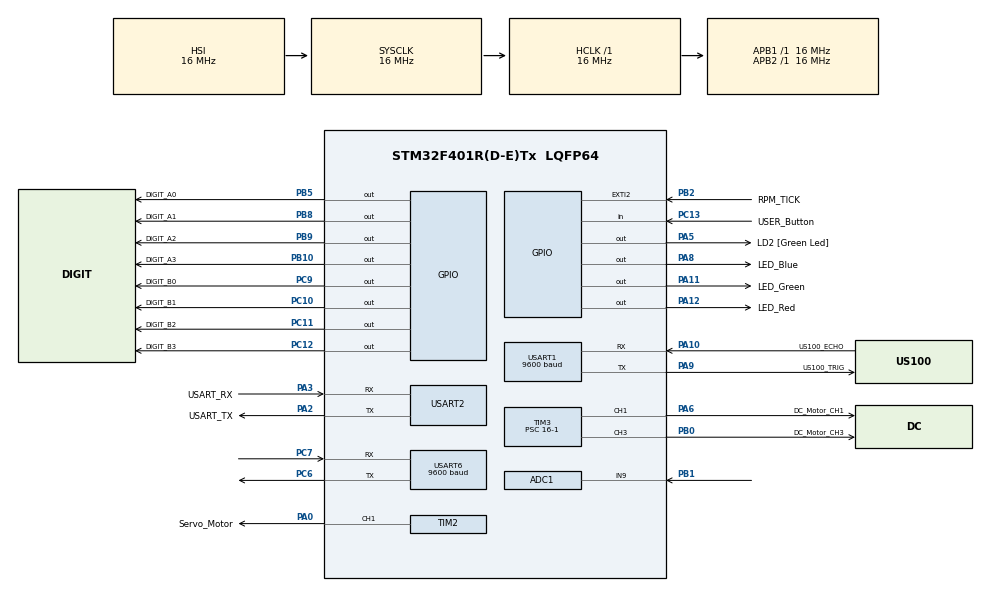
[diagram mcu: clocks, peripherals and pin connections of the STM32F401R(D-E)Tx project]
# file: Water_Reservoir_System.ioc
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ADC1.Channel-0\#ChannelRegularConversion=ADC_CHANNEL_9
ADC1.NbrOfConversionFlag=1
ADC1.Rank-0\#ChannelRegularConversion=1
ADC1.Resolution=ADC_RESOLUTION_8B
ADC1.SamplingTime-0\#ChannelRegularConversion=ADC_SAMPLETIME_15CYCLES
ADC1.ScanConvMode=ENABLE
ADC1.master=1
Mcu.Family=STM32F4
Mcu.Name=STM32F401R(D-E)Tx
Mcu.Package=LQFP64
NVIC.EXTI2_IRQn=true\:0\:0\:false\:false\:true\:true\:true\:true
NVIC.PriorityGroup=NVIC_PRIORITYGROUP_0
NVIC.TIM5_IRQn=true\:0\:0\:false\:false\:true\:true\:true\:true
NVIC.USART1_IRQn=true\:0\:0\:false\:false\:true\:true\:true\:true
NVIC.USART6_IRQn=true\:0\:0\:false\:false\:true\:true\:true\:true
PA0-WKUP.GPIO_Label=Servo_Motor
PA0-WKUP.Signal=S_TIM2_CH1_ETR
PA10.GPIO_Label=US100_ECHO
PA10.Mode=Asynchronous
PA10.Signal=USART1_RX
PA11.GPIO_Label=LED_Green
PA11.Signal=GPIO_Output
PA12.GPIO_Label=LED_Red
PA12.Signal=GPIO_Output
PA13.GPIO_Label=TMS
PA13.Mode=Serial_Wire
PA13.Signal=SYS_JTMS-SWDIO
PA14.GPIO_Label=TCK
PA14.Mode=Serial_Wire
PA14.Signal=SYS_JTCK-SWCLK
PA2.GPIO_Label=USART_TX
PA2.GPIO_Mode=GPIO_MODE_AF_PP
PA2.GPIO_PuPd=GPIO_NOPULL
PA2.GPIO_Speed=GPIO_SPEED_FREQ_LOW
PA2.Mode=Asynchronous
PA2.Signal=USART2_TX
PA3.GPIO_Label=USART_RX
PA3.GPIO_Mode=GPIO_MODE_AF_PP
PA3.GPIO_PuPd=GPIO_NOPULL
PA3.GPIO_Speed=GPIO_SPEED_FREQ_LOW
PA3.Mode=Asynchronous
PA3.Signal=USART2_RX
PA5.GPIO_Label=LD2 [Green Led]
PA5.GPIO_Mode=GPIO_MODE_OUTPUT_PP
PA5.GPIO_PuPd=GPIO_NOPULL
PA5.GPIO_Speed=GPIO_SPEED_FREQ_LOW
PA5.Signal=GPIO_Output
PA6.GPIO_Label=DC_Motor_CH1
PA6.Signal=S_TIM3_CH1
PA8.GPIO_Label=LED_Blue
PA8.Signal=GPIO_Output
PA9.GPIO_Label=US100_TRIG
PA9.Mode=Asynchronous
PA9.Signal=USART1_TX
PB0.GPIO_Label=DC_Motor_CH3
PB0.Signal=S_TIM3_CH3
PB1.Signal=ADCx_IN9
PB10.GPIO_Label=DIGIT_A3
PB10.Signal=GPIO_Output
PB2.GPIO_Label=RPM_TICK
PB2.GPIO_ModeDefaultEXTI=GPIO_MODE_IT_RISING
PB2.Signal=GPXTI2
PB3.GPIO_Label=SWO
PB3.Signal=SYS_JTDO-SWO
PB5.GPIO_Label=DIGIT_A0
PB5.Signal=GPIO_Output
PB8.GPIO_Label=DIGIT_A1
PB8.Signal=GPIO_Output
PB9.GPIO_Label=DIGIT_A2
PB9.Signal=GPIO_Output
PC10.GPIO_Label=DIGIT_B1
PC10.Signal=GPIO_Output
PC11.GPIO_Label=DIGIT_B2
PC11.Signal=GPIO_Output
PC12.GPIO_Label=DIGIT_B3
PC12.Signal=GPIO_Output
PC13-ANTI_TAMP.GPIO_Label=USER_Button
PC13-ANTI_TAMP.Signal=GPIO_Input
PC14-OSC32_IN.Mode=LSE-External-Oscillator
PC14-OSC32_IN.Signal=RCC_OSC32_IN
PC15-OSC32_OUT.Mode=LSE-External-Oscillator
PC15-OSC32_OUT.Signal=RCC_OSC32_OUT
PC6.Mode=Asynchronous
PC6.Signal=USART6_TX
PC7.Mode=Asynchronous
PC7.Signal=USART6_RX
PC9.GPIO_Label=DIGIT_B0
PC9.Signal=GPIO_Output
PH0\ -\ OSC_IN.Mode=HSE-External-Clock-Source
PH0\ -\ OSC_IN.Signal=RCC_OSC_IN
PH1\ -\ OSC_OUT.Mode=HSE-External-Clock-Source
PH1\ -\ OSC_OUT.Signal=RCC_OSC_OUT
ProjectManager.HeapSize=0x200
ProjectManager.StackSize=0x400
ProjectManager.TargetToolchain=STM32CubeIDE
RCC.48MHZClocksFreq_Value=48000000
RCC.AHBFreq_Value=16000000
RCC.APB1Freq_Value=16000000
RCC.APB1TimFreq_Value=16000000
RCC.APB2Freq_Value=16000000
RCC.APB2TimFreq_Value=16000000
RCC.CortexFreq_Value=16000000
RCC.HCLKFreq_Value=16000000
RCC.HSE_VALUE=8000000
RCC.HSI_VALUE=16000000
RCC.PLLN=336
RCC.PLLP=RCC_PLLP_DIV4
RCC.PLLQ=7
RCC.SYSCLKFreq_VALUE=16000000
RCC.VCOOutputFreq_Value=336000000
SH.ADCx_IN9.0=ADC1_IN9,IN9
SH.S_TIM2_CH1_ETR.0=TIM2_CH1,PWM Generation1 CH1
SH.S_TIM3_CH1.0=TIM3_CH1,PWM Generation1 CH1
SH.S_TIM3_CH3.0=TIM3_CH3,PWM Generation3 CH3
TIM2.AutoReloadPreload=TIM_AUTORELOAD_PRELOAD_ENABLE
TIM2.Channel-PWM\ Generation1\ CH1=TIM_CHANNEL_1
TIM2.Period=20000-1
TIM2.Prescaler=16-1
TIM2.Pulse-PWM\ Generation1\ CH1=500-1
TIM3.AutoReloadPreload=TIM_AUTORELOAD_PRELOAD_ENABLE
TIM3.Channel-PWM\ Generation1\ CH1=TIM_CHANNEL_1
TIM3.Channel-PWM\ Generation3\ CH3=TIM_CHANNEL_3
TIM3.Period=2000-1
TIM3.Prescaler=16-1
TIM3.Pulse-PWM\ Generation1\ CH1=1200-1
TIM3.Pulse-PWM\ Generation3\ CH3=0
TIM5.AutoReloadPreload=TIM_AUTORELOAD_PRELOAD_ENABLE
TIM5.Period=1000-1
TIM5.Prescaler=16000-1
USART1.BaudRate=9600
USART1.VirtualMode=VM_ASYNC
USART2.VirtualMode=VM_ASYNC
USART6.BaudRate=9600
USART6.VirtualMode=VM_ASYNC
VP_TIM2_VS_ClockSourceINT.Mode=Internal
VP_TIM3_VS_ClockSourceINT.Mode=Internal
VP_TIM5_VS_ClockSourceINT.Mode=Internal
board=NUCLEO-F401RE

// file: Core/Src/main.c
/* USER CODE BEGIN Header */
#include <string.h>
#include <stdio.h>
#include <stdlib.h>
/* USER CODE END Header */
#include "main.h"

/* USER CODE BEGIN PTD */
uint8_t pipe[4];
uint8_t pwm[4];
uint8_t pipe_num;
uint8_t start_time[4];
uint8_t stop_time[4];
uint8_t pwm_num;
uint16_t clock_hours = 0;
uint16_t clock_secs = 0;
uint8_t last_hour = 0;
uint16_t min_distance = 100; /* minimum distance = 100mm */
uint16_t max_distance = 250; /* maximum distance = 250mm */
uint8_t cmd_dist = 0x55;
uint8_t us100_Rx_flag = 00;
uint8_t us100_buffer[2] = {0};
volatile uint16_t distance = 0;
volatile uint16_t depth = 0;
volatile uint8_t rcv_intpt_flag = 0;
uint16_t rpm_tick_count = 0;
uint8_t buffer[64] = {0};
uint8_t double_byte[2];
int empty_zone = 0;
int single_digit = 1;

/* USER CODE END PTD */

ADC_HandleTypeDef hadc1;

TIM_HandleTypeDef htim2;
TIM_HandleTypeDef htim3;
TIM_HandleTypeDef htim5;

UART_HandleTypeDef huart1;
UART_HandleTypeDef huart2;
UART_HandleTypeDef huart6;

void SystemClock_Config(void);
static void MX_GPIO_Init(void);
static void MX_USART2_UART_Init(void);
static void MX_ADC1_Init(void);
static void MX_TIM2_Init(void);
static void MX_TIM3_Init(void);
static void MX_TIM5_Init(void);
static void MX_USART1_UART_Init(void);
static void MX_USART6_UART_Init(void);

/* USER CODE BEGIN 0 */
void DIGITS_Display()
{
	 uint8_t DIGIT_A = depth/10;
	 uint8_t DIGIT_B = depth%10;

//	 sprintf((char *)buffer, "\r\n%d%d", DIGIT_A, DIGIT_B);
//	 HAL_UART_Transmit(&huart6, buffer, strlen((char *)buffer), HAL_MAX_DELAY);
//	 memset(buffer, 0, sizeof(buffer));

	 uint8_t DIGITA_VAL = 0x0F & DIGIT_A; //mask off higher4 bits
	 int Abit0 = (DIGITA_VAL ) & 1;  	// extract Abit0 of the 4-bit value
	 int Abit1 = (DIGITA_VAL >> 1) & 1;  // extract Abit1 of the 4-bit value
	 int Abit2 = (DIGITA_VAL >> 2) & 1;  // extract Abit2 of the 4-bit value
	 int Abit3 = (DIGITA_VAL >> 3) & 1;  // extract Abit3 of the 4-bit value

	 uint8_t DIGITB_VAL = 0x0F & DIGIT_B; //mask off higher4 bits
	 int Bbit0 = (DIGITB_VAL ) & 1;  	// extract Bbit0 of the 4-bit value
	 int Bbit1 = (DIGITB_VAL >> 1) & 1;  // extract Bbit1 of the 4-bit value
	 int Bbit2 = (DIGITB_VAL >> 2) & 1;  // extract Bbit2 of the 4-bit value
	 int Bbit3 = (DIGITB_VAL >> 3) & 1;  // extract Bbit3 of the 4-bit value

	 if (Abit0 == (0))
	 {
		 HAL_GPIO_WritePin(GPIOB, DIGIT_A0_Pin, GPIO_PIN_RESET);
	 }
	 else
	 {
		 HAL_GPIO_WritePin(GPIOB, DIGIT_A0_Pin, GPIO_PIN_SET);

	 }
	 if (Abit1 == (0))
	 {
		 HAL_GPIO_WritePin(GPIOB, DIGIT_A1_Pin, GPIO_PIN_RESET);
	 }
	 else
	 {
		 HAL_GPIO_WritePin(GPIOB, DIGIT_A1_Pin, GPIO_PIN_SET);

	 }
	 if (Abit2 == (0))
	 {
		 HAL_GPIO_WritePin(GPIOB, DIGIT_A2_Pin, GPIO_PIN_RESET);
	 }
	 else
	 {
		 HAL_GPIO_WritePin(GPIOB, DIGIT_A2_Pin, GPIO_PIN_SET);

	 }
	 if (Abit3 == (0))
	 {
		 HAL_GPIO_WritePin(GPIOB, DIGIT_A3_Pin, GPIO_PIN_RESET);
	 }
	 else
	 {
		 HAL_GPIO_WritePin(GPIOB, DIGIT_A3_Pin, GPIO_PIN_SET);

	 }

	 if (Bbit0 == (0))
	 {
		 HAL_GPIO_WritePin(GPIOC, DIGIT_B0_Pin, GPIO_PIN_RESET);
	 }
	 else
	 {
		 HAL_GPIO_WritePin(GPIOC, DIGIT_B0_Pin, GPIO_PIN_SET);

	 }
	 if (Bbit1 == (0))
	 {
		 HAL_GPIO_WritePin(GPIOC, DIGIT_B1_Pin, GPIO_PIN_RESET);
	 }
	 else
	 {
		 HAL_GPIO_WritePin(GPIOC, DIGIT_B1_Pin, GPIO_PIN_SET);

	 }
	 if (Bbit2 == (0))
	 {
		 HAL_GPIO_WritePin(GPIOC, DIGIT_B2_Pin, GPIO_PIN_RESET);
	 }
	 else
	 {
		 HAL_GPIO_WritePin(GPIOC, DIGIT_B2_Pin, GPIO_PIN_SET);

	 }
	 if (Bbit3 == (0))
	 {
		 HAL_GPIO_WritePin(GPIOC, DIGIT_B3_Pin, GPIO_PIN_RESET);
	 }
	 else
	 {
		 HAL_GPIO_WritePin(GPIOC, DIGIT_B3_Pin, GPIO_PIN_SET);

	 }
}

void ADC_Select_CH(int CH) {
	ADC_ChannelConfTypeDef sConfig = {0};
	switch(CH)
	{
	case 0:
	sConfig.Channel = ADC_CHANNEL_0;
	sConfig.Rank = 1;
	if (HAL_ADC_ConfigChannel(&hadc1, &sConfig) != HAL_OK)
	{
	Error_Handler();
	}
	break;
	case 1:
	sConfig.Channel = ADC_CHANNEL_1;
	sConfig.Rank = 1;
	if (HAL_ADC_ConfigChannel(&hadc1, &sConfig) != HAL_OK)
	{
	Error_Handler();
	}
	break;
	case 2:
	sConfig.Channel = ADC_CHANNEL_2;
	sConfig.Rank = 1;
	if (HAL_ADC_ConfigChannel(&hadc1, &sConfig) != HAL_OK)
	{
	Error_Handler();
	}
	break;
	case 3:
	sConfig.Channel = ADC_CHANNEL_3;
	sConfig.Rank = 1;
	if (HAL_ADC_ConfigChannel(&hadc1, &sConfig) != HAL_OK)
	{
	Error_Handler();
	}
	break;
	case 4:
	sConfig.Channel = ADC_CHANNEL_4;
	sConfig.Rank = 1;
	if (HAL_ADC_ConfigChannel(&hadc1, &sConfig) != HAL_OK)
	{
	Error_Handler();
	}
	break;
	case 5:
	sConfig.Channel = ADC_CHANNEL_5;
	sConfig.Rank = 1;
	if (HAL_ADC_ConfigChannel(&hadc1, &sConfig) != HAL_OK)
	{
	Error_Handler();
	}
	break;
	case 6:
	sConfig.Channel = ADC_CHANNEL_6;
	sConfig.Rank = 1;
	if (HAL_ADC_ConfigChannel(&hadc1, &sConfig) != HAL_OK)
	{
	Error_Handler();
	}
	break;
	case 7:
	sConfig.Channel = ADC_CHANNEL_7;
	sConfig.Rank = 1;
	if (HAL_ADC_ConfigChannel(&hadc1, &sConfig) != HAL_OK)
	{
	Error_Handler();
	}
	break;
	case 8:
	sConfig.Channel = ADC_CHANNEL_8;
	sConfig.Rank = 1;
	if (HAL_ADC_ConfigChannel(&hadc1, &sConfig) != HAL_OK)
	{
	Error_Handler();
	}
	break;
	case 9:
	sConfig.Channel = ADC_CHANNEL_9;
	sConfig.Rank = 1;
	if (HAL_ADC_ConfigChannel(&hadc1, &sConfig) != HAL_OK)
	{
	Error_Handler();
	}
	break;
	case 10:
	sConfig.Channel = ADC_CHANNEL_10;
	sConfig.Rank = 1;
	if (HAL_ADC_ConfigChannel(&hadc1, &sConfig) != HAL_OK)
	{
	Error_Handler();
	}
	break;
	case 11:
	sConfig.Channel = ADC_CHANNEL_11;
	sConfig.Rank = 1;
	if (HAL_ADC_ConfigChannel(&hadc1, &sConfig) != HAL_OK)
	{
	Error_Handler();
	}
	break;
	case 12:
	sConfig.Channel = ADC_CHANNEL_12;
	sConfig.Rank = 1;
	if (HAL_ADC_ConfigChannel(&hadc1, &sConfig) != HAL_OK)
	{
	Error_Handler();
	}
	break;
	case 13:
	sConfig.Channel = ADC_CHANNEL_13;
	sConfig.Rank = 1;
	if (HAL_ADC_ConfigChannel(&hadc1, &sConfig) != HAL_OK)
	{
	Error_Handler();
	}
	break;
	case 14:
	sConfig.Channel = ADC_CHANNEL_14;
	sConfig.Rank = 1;
	if (HAL_ADC_ConfigChannel(&hadc1, &sConfig) != HAL_OK)
	{
	Error_Handler();
	}
	break;
	case 15:
	sConfig.Channel = ADC_CHANNEL_15;
	sConfig.Rank = 1;
	if (HAL_ADC_ConfigChannel(&hadc1, &sConfig) != HAL_OK)
	{
	Error_Handler();
	}
	break;
	}
}

void user_input () {
		sprintf((char*)buffer, "\r\nSETUP Mode");
		HAL_UART_Transmit(&huart6, buffer, strlen((char *)buffer), HAL_MAX_DELAY);
		memset(buffer, 0, sizeof(buffer));
		for (int i = 0; i < 4; i++) {
			single_digit = 1;
			rcv_intpt_flag = 00;
			HAL_UART_Receive_IT(&huart6, double_byte, 1);
			sprintf((char*)buffer, "\n\r\nEnter Pipeline Choice (0 = INLET, 1-3 = ZONES): ");
			HAL_UART_Transmit(&huart6, buffer, strlen((char *)buffer), HAL_MAX_DELAY);
			while(rcv_intpt_flag == (00)) {};
			pipe[i] = atoi((char *)&double_byte);
			memset(buffer, 0, sizeof(buffer));
			memset(double_byte, 0, sizeof(double_byte));

			rcv_intpt_flag = 00;
			HAL_UART_Receive_IT(&huart6, double_byte, 1);
			sprintf((char*)buffer, "\r\nEnter Pump PWM (0 = INLET, 1-3 = ZONES): ");
			HAL_UART_Transmit(&huart6, buffer, strlen((char *)buffer), HAL_MAX_DELAY);
			while(rcv_intpt_flag == (00)) {};
			pwm[i] = atoi((char *)&double_byte);
			memset(buffer, 0, sizeof(buffer));
			memset(double_byte, 0, sizeof(double_byte));
		}

		for (int i = 0; i < 4; i ++) {
			single_digit = 0;
			rcv_intpt_flag = 00;
			HAL_UART_Receive_IT(&huart6, double_byte, 2);
			sprintf((char*)buffer, "\n\r\nEnter Start Hour (00 - 23): ");
			HAL_UART_Transmit(&huart6, buffer, strlen((char *)buffer), HAL_MAX_DELAY);
			while(rcv_intpt_flag == (00)) {};
			start_time[i] = atoi((char *)&double_byte);
			memset(buffer, 0, sizeof(buffer));
			memset(double_byte, 0, sizeof(double_byte));

			rcv_intpt_flag = 00;
			HAL_UART_Receive_IT(&huart6, double_byte, 2);
			sprintf((char*)buffer, "\r\nEnter Stop Hour (00 - 23): ");
			HAL_UART_Transmit(&huart6, buffer, strlen((char *)buffer), HAL_MAX_DELAY);
			rcv_intpt_flag = 00;
			while(rcv_intpt_flag == (00)) {};
			stop_time[i] = atoi((char *)&double_byte);
			memset(buffer, 0, sizeof(buffer));
			memset(double_byte, 0, sizeof(double_byte));
		}

			rcv_intpt_flag = 00;

			while(rcv_intpt_flag) {};
			sprintf((char*)buffer, "\n\r\nPrinting SETUP Parameters");
			HAL_UART_Transmit(&huart6, buffer, strlen((char *)buffer), HAL_MAX_DELAY);
			memset(buffer, 0, sizeof(buffer));
			sprintf((char*)buffer, "\r\nCurrent Wall Clock Hour: 00");
			HAL_UART_Transmit(&huart6, buffer, strlen((char*)buffer), HAL_MAX_DELAY);
			memset(buffer, 0, sizeof(buffer));

			for (int i = 0; i < 4; i++) {
				sprintf((char *)buffer, "\r\nPipeline: %u, Pump PWM: %u, Start Hour: %u, Stop Hour: %u", pipe[i], pwm[i], start_time[i], stop_time[i]);
				HAL_UART_Transmit(&huart6, buffer, strlen((char *)buffer), HAL_MAX_DELAY);
				memset(buffer, 0, sizeof(buffer));
			}

			sprintf((char*)buffer, "\n\r\nSETUP is done. Press Blue Button for RUN Mode");
			HAL_UART_Transmit(&huart6, buffer, strlen((char *)buffer), HAL_MAX_DELAY);
			memset(buffer, 0, sizeof(buffer));
}

uint32_t get_potentio_num() {
	ADC_Select_CH(9);
	HAL_ADC_Start(&hadc1);
	HAL_ADC_PollForConversion(&hadc1, 1000);
	uint32_t ADC_CH9 = HAL_ADC_GetValue(&hadc1);
//	sprintf((char*)buffer, "\n\r\n ADC_CH9: %d", ADC_CH9);
//				HAL_UART_Transmit(&huart6, buffer, strlen((char *)buffer), HAL_MAX_DELAY);
//				memset(buffer, 0, sizeof(buffer));
	HAL_ADC_Stop(&hadc1);

	return ADC_CH9/2.55;
}

void servo_num(uint16_t pipe_num) {
	if (pipe_num == 0) {
		TIM2->CCR1 = 500;
	} else if (pipe_num == 1) {
		TIM2->CCR1 = 800;
	} else if (pipe_num == 2) {
		TIM2->CCR1 = 1100;
	} else if (pipe_num == 3) {
		TIM2->CCR1 = 1400;
	}
}

void DC_motor_speed(uint16_t pipe_num, uint16_t pwm_num) {
	if(pipe_num == 0) {
		TIM3->CCR3 = 0;
		if (pwm_num == 0) {
//			sprintf((char *)buffer, "\r\n val = %lu ", get_potentio_num()*20);
//				HAL_UART_Transmit(&huart6, buffer, strlen((char *)buffer), HAL_MAX_DELAY);
//				memset(buffer, 0, sizeof(buffer));
			TIM3->CCR1 = get_potentio_num()*20;
		} else if (pwm_num == 1) {
			TIM3->CCR1 = 0.7*2000;
		} else if (pwm_num == 2) {
			TIM3->CCR1 = 0.85*2000;
		} else if (pwm_num == 3) {
			TIM3->CCR1 = 0.99*2000;
		}
	} else {
		TIM3->CCR3 = 0;
		if (pwm_num == 0) {
			TIM3->CCR1 = get_potentio_num()*20;
		} else if (pwm_num == 1) {
			TIM3->CCR1 = 0.7*2000;
		} else if (pwm_num == 2) {
			TIM3->CCR1 = 0.85*2000;
		} else if (pwm_num == 3) {
			TIM3->CCR1 = 0.99*2000;
		}
	}
}

void DC_motor_reset() {
	TIM3->CCR1 = 0;
	TIM3->CCR3 = 0;
}

void water_level() {
	us100_Rx_flag = 00;
	HAL_UART_Receive_IT(&huart1, us100_buffer, 2);
	HAL_UART_Transmit(&huart1, &cmd_dist, 1, HAL_MAX_DELAY);

	while (us100_Rx_flag == (00)) {};

	distance = (us100_buffer[0] << 8) | us100_buffer[1];

	if (distance >= max_distance) {
		depth = 0;
	} else if (distance <= min_distance) {
		depth = 100;
	} else {
		depth = ((max_distance - distance)*100/(max_distance - min_distance)); // water level in percentage
	}

	memset(us100_buffer, 0, sizeof(us100_buffer));
}

uint16_t get_rpm() {
	uint16_t rpm = rpm_tick_count/4;
	rpm_tick_count = 0;

	return rpm;
}

void run_output() {
	uint16_t rpm = get_rpm();
	uint16_t current_hour = clock_hours - 1;

	if(empty_zone)
	{
		sprintf((char *)buffer, "\r\n%d :   :   : %d : %d", current_hour, rpm, depth);
		HAL_UART_Transmit(&huart6, buffer, strlen((char *)buffer), HAL_MAX_DELAY);
		memset(buffer, 0, sizeof(buffer));
	} else {
		sprintf((char *)buffer, "\r\n%d : %d : %d : %d : %d", current_hour, pipe_num, pwm_num, rpm, depth);
		HAL_UART_Transmit(&huart6, buffer, strlen((char *)buffer), HAL_MAX_DELAY);
		memset(buffer, 0, sizeof(buffer));
	}
}

void set_led(uint16_t pipe_num) {
	HAL_GPIO_WritePin(GPIOA, LED_Blue_Pin|LED_Red_Pin|LED_Green_Pin, GPIO_PIN_RESET);

	if (pipe_num == 0) {
		HAL_GPIO_WritePin(GPIOA, LED_Blue_Pin|LED_Red_Pin, GPIO_PIN_SET);
	} else if (pipe_num == 1) {
		HAL_GPIO_WritePin(GPIOA, LED_Red_Pin, GPIO_PIN_SET);
	} else if (pipe_num == 2) {
		HAL_GPIO_WritePin(GPIOA, LED_Green_Pin, GPIO_PIN_SET);
	} else if (pipe_num == 3) {
		HAL_GPIO_WritePin(GPIOA, LED_Blue_Pin, GPIO_PIN_SET);
	}

	if (pipe_num == 4) {
		for (int i = 0; i < 20; i++) {
			HAL_GPIO_WritePin(GPIOA, LED_Blue_Pin|LED_Red_Pin|LED_Green_Pin, GPIO_PIN_SET);
			HAL_Delay(100);
			HAL_GPIO_WritePin(GPIOA, LED_Blue_Pin|LED_Red_Pin|LED_Green_Pin, GPIO_PIN_RESET);
			HAL_Delay(100);
		}
	}
}

void reset_led() {
	HAL_GPIO_WritePin(GPIOA, LED_Blue_Pin|LED_Red_Pin|LED_Green_Pin, GPIO_PIN_RESET);
}

/* USER CODE END 0 */

int main(void)
{

  /* MCU Configuration--------------------------------------------------------*/

  /* Reset of all peripherals, Initializes the Flash interface and the Systick. */
  HAL_Init();

  /* Configure the system clock */
  SystemClock_Config();

  /* Initialize all configured peripherals */
  MX_GPIO_Init();
  MX_USART2_UART_Init();
  MX_ADC1_Init();
  MX_TIM2_Init();
  MX_TIM3_Init();
  MX_TIM5_Init();
  MX_USART1_UART_Init();
  MX_USART6_UART_Init();
  /* USER CODE BEGIN 2 */
  HAL_TIM_Base_Init(&htim2);
  HAL_TIM_PWM_Start(&htim2, TIM_CHANNEL_1);
  TIM2->PSC = 16;
  TIM2->ARR = 20000;
  TIM2->CCR1 = 500;

  HAL_TIM_Base_Init(&htim3);
  HAL_TIM_PWM_Start(&htim3, TIM_CHANNEL_1);
  HAL_TIM_PWM_Start(&htim3, TIM_CHANNEL_3);
  TIM3->PSC = 16;
  TIM3->ARR = 2000;
  TIM3->CCR1 = 0;
  TIM3->CCR3 = 0;

  HAL_GPIO_WritePin(LD2_GPIO_Port, LD2_Pin, GPIO_PIN_RESET);
  user_input();

  while(HAL_GPIO_ReadPin(GPIOC, USER_Button_Pin) == GPIO_PIN_SET) {
		HAL_GPIO_WritePin(LD2_GPIO_Port, LD2_Pin, GPIO_PIN_SET);
		HAL_Delay(100);
		HAL_GPIO_WritePin(LD2_GPIO_Port, LD2_Pin, GPIO_PIN_RESET);
		HAL_Delay(100);
  }

  HAL_GPIO_WritePin(LD2_GPIO_Port, LD2_Pin, GPIO_PIN_SET);

  // RUN Mode
  sprintf((char *)buffer, "\n\r\nRUN MODE");
  HAL_UART_Transmit(&huart6, buffer, strlen((char *)buffer), HAL_MAX_DELAY);
  memset(buffer, 0, sizeof(buffer));
  sprintf((char *)buffer, "\r\nHOUR : PIPE : PWM : RPM : DEPTH");
  HAL_UART_Transmit(&huart6, buffer, strlen((char*) buffer), HAL_MAX_DELAY);
  memset(buffer, 0, sizeof(buffer));
  sprintf((char *)buffer, "\r\n---------------------------------------------");
  HAL_UART_Transmit(&huart6, buffer, strlen((char *)buffer), HAL_MAX_DELAY);
  memset(buffer, 0, sizeof(buffer));

  clock_hours = 0;
  clock_secs = 0;
  last_hour = 0;
  HAL_TIM_Base_Start_IT(&htim5);

  /* USER CODE END 2 */

  /* Infinite loop */
  /* USER CODE BEGIN WHILE */
  while(1) {
	  empty_zone = 1;

	  if (clock_hours == start_time[0]) {
		  pipe_num = pipe[0];
		  pwm_num = pwm[0];
	  } else if (clock_hours == start_time[1]) {
		  pipe_num = pipe[1];
		  pwm_num = pwm[1];
	  } else if (clock_hours == start_time[2]) {
		  pipe_num = pipe[2];
		  pwm_num = pwm[2];
	  } else if (clock_hours == start_time[3]) {
		  pipe_num = pipe[3];
		  pwm_num = pwm[3];
	  }

	  for (int i = 0; i < 4; i++) {
		  if(start_time[i] <= clock_hours && stop_time[i] >= clock_hours) {
			  empty_zone = 0;
		  }
	  }

	  if (!empty_zone) {
		  servo_num(pipe_num);
		  set_led(pipe_num);
		  DC_motor_speed(pipe_num, pwm_num);
		  if (pwm_num == 0) {
			  while (clock_hours == last_hour) {
				  DC_motor_speed(pipe_num, pwm_num);
			  }
		  }
	  } else if (empty_zone) {
		  DC_motor_reset();
		  reset_led();
	  }

	  while (clock_hours == last_hour){};

	  last_hour = clock_hours;
	  water_level();

	  if (depth == 0) {
		  DC_motor_reset();
		  TIM2->CCR1 = 0;
		  HAL_GPIO_WritePin(LD2_GPIO_Port, LD2_Pin, GPIO_PIN_RESET);
		  sprintf((char *)buffer, "\n\r\nReservoir is empty");
		  HAL_UART_Transmit(&huart6, buffer, strlen((char *)buffer), HAL_MAX_DELAY);
		  memset(buffer, 0, sizeof(buffer));
		  set_led(4);

		  break;
	  }

	  DIGITS_Display();
	  run_output();

	  if (clock_hours == 24) {
		  DC_motor_reset();
		  reset_led();
		  HAL_GPIO_WritePin(LD2_GPIO_Port, LD2_Pin, GPIO_PIN_RESET);
		  TIM2->CCR1 = 0;
		  sprintf((char *)buffer, "\n\r\nIrrigation complete");
		  HAL_UART_Transmit(&huart6, buffer, strlen((char *)buffer), HAL_MAX_DELAY);
		  memset(buffer, 0, sizeof(buffer));

		  break;
	  }
  }
    /* USER CODE END WHILE */

    /* USER CODE BEGIN 3 */
	HAL_GPIO_WritePin(GPIOA, LED_Blue_Pin|LED_Red_Pin|LED_Green_Pin, GPIO_PIN_RESET);
	HAL_TIM_PWM_Stop(&htim3, TIM_CHANNEL_1);
	HAL_TIM_PWM_Stop(&htim3, TIM_CHANNEL_3);
	HAL_TIM_PWM_Stop(&htim2, TIM_CHANNEL_1);
	HAL_TIM_Base_Stop_IT(&htim5);

	return 0;
  /* USER CODE END 3 */
}

void SystemClock_Config(void)
{
  RCC_OscInitTypeDef RCC_OscInitStruct = {0};
  RCC_ClkInitTypeDef RCC_ClkInitStruct = {0};

  /** Configure the main internal regulator output voltage
  */
  __HAL_RCC_PWR_CLK_ENABLE();
  __HAL_PWR_VOLTAGESCALING_CONFIG(PWR_REGULATOR_VOLTAGE_SCALE2);

  /** Initializes the RCC Oscillators according to the specified parameters
  * in the RCC_OscInitTypeDef structure.
  */
  RCC_OscInitStruct.OscillatorType = RCC_OSCILLATORTYPE_HSI;
  RCC_OscInitStruct.HSIState = RCC_HSI_ON;
  RCC_OscInitStruct.HSICalibrationValue = RCC_HSICALIBRATION_DEFAULT;
  RCC_OscInitStruct.PLL.PLLState = RCC_PLL_NONE;
  if (HAL_RCC_OscConfig(&RCC_OscInitStruct) != HAL_OK)
  {
    Error_Handler();
  }

  /** Initializes the CPU, AHB and APB buses clocks
  */
  RCC_ClkInitStruct.ClockType = RCC_CLOCKTYPE_HCLK|RCC_CLOCKTYPE_SYSCLK
                              |RCC_CLOCKTYPE_PCLK1|RCC_CLOCKTYPE_PCLK2;
  RCC_ClkInitStruct.SYSCLKSource = RCC_SYSCLKSOURCE_HSI;
  RCC_ClkInitStruct.AHBCLKDivider = RCC_SYSCLK_DIV1;
  RCC_ClkInitStruct.APB1CLKDivider = RCC_HCLK_DIV1;
  RCC_ClkInitStruct.APB2CLKDivider = RCC_HCLK_DIV1;

  if (HAL_RCC_ClockConfig(&RCC_ClkInitStruct, FLASH_LATENCY_0) != HAL_OK)
  {
    Error_Handler();
  }
}

static void MX_ADC1_Init(void)
{

  ADC_ChannelConfTypeDef sConfig = {0};

  /** Configure the global features of the ADC (Clock, Resolution, Data Alignment and number of conversion)
  */
  hadc1.Instance = ADC1;
  hadc1.Init.ClockPrescaler = ADC_CLOCK_SYNC_PCLK_DIV2;
  hadc1.Init.Resolution = ADC_RESOLUTION_8B;
  hadc1.Init.ScanConvMode = ENABLE;
  hadc1.Init.ContinuousConvMode = DISABLE;
  hadc1.Init.DiscontinuousConvMode = DISABLE;
  hadc1.Init.ExternalTrigConvEdge = ADC_EXTERNALTRIGCONVEDGE_NONE;
  hadc1.Init.ExternalTrigConv = ADC_SOFTWARE_START;
  hadc1.Init.DataAlign = ADC_DATAALIGN_RIGHT;
  hadc1.Init.NbrOfConversion = 1;
  hadc1.Init.DMAContinuousRequests = DISABLE;
  hadc1.Init.EOCSelection = ADC_EOC_SINGLE_CONV;
  if (HAL_ADC_Init(&hadc1) != HAL_OK)
  {
    Error_Handler();
  }

  /** Configure for the selected ADC regular channel its corresponding rank in the sequencer and its sample time.
  */
  sConfig.Channel = ADC_CHANNEL_9;
  sConfig.Rank = 1;
  sConfig.SamplingTime = ADC_SAMPLETIME_15CYCLES;
  if (HAL_ADC_ConfigChannel(&hadc1, &sConfig) != HAL_OK)
  {
    Error_Handler();
  }

}

static void MX_TIM2_Init(void)
{

  TIM_ClockConfigTypeDef sClockSourceConfig = {0};
  TIM_MasterConfigTypeDef sMasterConfig = {0};
  TIM_OC_InitTypeDef sConfigOC = {0};

  htim2.Instance = TIM2;
  htim2.Init.Prescaler = 16-1;
  htim2.Init.CounterMode = TIM_COUNTERMODE_UP;
  htim2.Init.Period = 20000-1;
  htim2.Init.ClockDivision = TIM_CLOCKDIVISION_DIV1;
  htim2.Init.AutoReloadPreload = TIM_AUTORELOAD_PRELOAD_ENABLE;
  if (HAL_TIM_Base_Init(&htim2) != HAL_OK)
  {
    Error_Handler();
  }
  sClockSourceConfig.ClockSource = TIM_CLOCKSOURCE_INTERNAL;
  if (HAL_TIM_ConfigClockSource(&htim2, &sClockSourceConfig) != HAL_OK)
  {
    Error_Handler();
  }
  if (HAL_TIM_PWM_Init(&htim2) != HAL_OK)
  {
    Error_Handler();
  }
  sMasterConfig.MasterOutputTrigger = TIM_TRGO_RESET;
  sMasterConfig.MasterSlaveMode = TIM_MASTERSLAVEMODE_DISABLE;
  if (HAL_TIMEx_MasterConfigSynchronization(&htim2, &sMasterConfig) != HAL_OK)
  {
    Error_Handler();
  }
  sConfigOC.OCMode = TIM_OCMODE_PWM1;
  sConfigOC.Pulse = 500-1;
  sConfigOC.OCPolarity = TIM_OCPOLARITY_HIGH;
  sConfigOC.OCFastMode = TIM_OCFAST_DISABLE;
  if (HAL_TIM_PWM_ConfigChannel(&htim2, &sConfigOC, TIM_CHANNEL_1) != HAL_OK)
  {
    Error_Handler();
  }
  HAL_TIM_MspPostInit(&htim2);

}

static void MX_TIM3_Init(void)
{

  TIM_ClockConfigTypeDef sClockSourceConfig = {0};
  TIM_MasterConfigTypeDef sMasterConfig = {0};
  TIM_OC_InitTypeDef sConfigOC = {0};

  htim3.Instance = TIM3;
  htim3.Init.Prescaler = 16-1;
  htim3.Init.CounterMode = TIM_COUNTERMODE_UP;
  htim3.Init.Period = 2000-1;
  htim3.Init.ClockDivision = TIM_CLOCKDIVISION_DIV1;
  htim3.Init.AutoReloadPreload = TIM_AUTORELOAD_PRELOAD_ENABLE;
  if (HAL_TIM_Base_Init(&htim3) != HAL_OK)
  {
    Error_Handler();
  }
  sClockSourceConfig.ClockSource = TIM_CLOCKSOURCE_INTERNAL;
  if (HAL_TIM_ConfigClockSource(&htim3, &sClockSourceConfig) != HAL_OK)
  {
    Error_Handler();
  }
  if (HAL_TIM_PWM_Init(&htim3) != HAL_OK)
  {
    Error_Handler();
  }
  sMasterConfig.MasterOutputTrigger = TIM_TRGO_RESET;
  sMasterConfig.MasterSlaveMode = TIM_MASTERSLAVEMODE_DISABLE;
  if (HAL_TIMEx_MasterConfigSynchronization(&htim3, &sMasterConfig) != HAL_OK)
  {
    Error_Handler();
  }
  sConfigOC.OCMode = TIM_OCMODE_PWM1;
  sConfigOC.Pulse = 1200-1;
  sConfigOC.OCPolarity = TIM_OCPOLARITY_HIGH;
  sConfigOC.OCFastMode = TIM_OCFAST_DISABLE;
  if (HAL_TIM_PWM_ConfigChannel(&htim3, &sConfigOC, TIM_CHANNEL_1) != HAL_OK)
  {
    Error_Handler();
  }
  sConfigOC.Pulse = 0;
  if (HAL_TIM_PWM_ConfigChannel(&htim3, &sConfigOC, TIM_CHANNEL_3) != HAL_OK)
  {
    Error_Handler();
  }
  HAL_TIM_MspPostInit(&htim3);

}

static void MX_TIM5_Init(void)
{

  TIM_ClockConfigTypeDef sClockSourceConfig = {0};
  TIM_MasterConfigTypeDef sMasterConfig = {0};

  htim5.Instance = TIM5;
  htim5.Init.Prescaler = 16000-1;
  htim5.Init.CounterMode = TIM_COUNTERMODE_UP;
  htim5.Init.Period = 1000-1;
  htim5.Init.ClockDivision = TIM_CLOCKDIVISION_DIV1;
  htim5.Init.AutoReloadPreload = TIM_AUTORELOAD_PRELOAD_ENABLE;
  if (HAL_TIM_Base_Init(&htim5) != HAL_OK)
  {
    Error_Handler();
  }
  sClockSourceConfig.ClockSource = TIM_CLOCKSOURCE_INTERNAL;
  if (HAL_TIM_ConfigClockSource(&htim5, &sClockSourceConfig) != HAL_OK)
  {
    Error_Handler();
  }
  sMasterConfig.MasterOutputTrigger = TIM_TRGO_RESET;
  sMasterConfig.MasterSlaveMode = TIM_MASTERSLAVEMODE_DISABLE;
  if (HAL_TIMEx_MasterConfigSynchronization(&htim5, &sMasterConfig) != HAL_OK)
  {
    Error_Handler();
  }

}

static void MX_USART1_UART_Init(void)
{

  huart1.Instance = USART1;
  huart1.Init.BaudRate = 9600;
  huart1.Init.WordLength = UART_WORDLENGTH_8B;
  huart1.Init.StopBits = UART_STOPBITS_1;
  huart1.Init.Parity = UART_PARITY_NONE;
  huart1.Init.Mode = UART_MODE_TX_RX;
  huart1.Init.HwFlowCtl = UART_HWCONTROL_NONE;
  huart1.Init.OverSampling = UART_OVERSAMPLING_16;
  if (HAL_UART_Init(&huart1) != HAL_OK)
  {
    Error_Handler();
  }

}

static void MX_USART2_UART_Init(void)
{

  huart2.Instance = USART2;
  huart2.Init.BaudRate = 115200;
  huart2.Init.WordLength = UART_WORDLENGTH_8B;
  huart2.Init.StopBits = UART_STOPBITS_1;
  huart2.Init.Parity = UART_PARITY_NONE;
  huart2.Init.Mode = UART_MODE_TX_RX;
  huart2.Init.HwFlowCtl = UART_HWCONTROL_NONE;
  huart2.Init.OverSampling = UART_OVERSAMPLING_16;
  if (HAL_UART_Init(&huart2) != HAL_OK)
  {
    Error_Handler();
  }

}

static void MX_USART6_UART_Init(void)
{

  huart6.Instance = USART6;
  huart6.Init.BaudRate = 9600;
  huart6.Init.WordLength = UART_WORDLENGTH_8B;
  huart6.Init.StopBits = UART_STOPBITS_1;
  huart6.Init.Parity = UART_PARITY_NONE;
  huart6.Init.Mode = UART_MODE_TX_RX;
  huart6.Init.HwFlowCtl = UART_HWCONTROL_NONE;
  huart6.Init.OverSampling = UART_OVERSAMPLING_16;
  if (HAL_UART_Init(&huart6) != HAL_OK)
  {
    Error_Handler();
  }

}

static void MX_GPIO_Init(void)
{
  GPIO_InitTypeDef GPIO_InitStruct = {0};

  /* GPIO Ports Clock Enable */
  __HAL_RCC_GPIOC_CLK_ENABLE();
  __HAL_RCC_GPIOH_CLK_ENABLE();
  __HAL_RCC_GPIOA_CLK_ENABLE();
  __HAL_RCC_GPIOB_CLK_ENABLE();

  /*Configure GPIO pin Output Level */
  HAL_GPIO_WritePin(GPIOA, LD2_Pin|LED_Blue_Pin|LED_Green_Pin|LED_Red_Pin, GPIO_PIN_RESET);

  /*Configure GPIO pin Output Level */
  HAL_GPIO_WritePin(GPIOB, DIGIT_A3_Pin|DIGIT_A0_Pin|DIGIT_A1_Pin|DIGIT_A2_Pin, GPIO_PIN_RESET);

  /*Configure GPIO pin Output Level */
  HAL_GPIO_WritePin(GPIOC, DIGIT_B0_Pin|DIGIT_B1_Pin|DIGIT_B2_Pin|DIGIT_B3_Pin, GPIO_PIN_RESET);

  /*Configure GPIO pin : USER_Button_Pin */
  GPIO_InitStruct.Pin = USER_Button_Pin;
  GPIO_InitStruct.Mode = GPIO_MODE_INPUT;
  GPIO_InitStruct.Pull = GPIO_NOPULL;
  HAL_GPIO_Init(USER_Button_GPIO_Port, &GPIO_InitStruct);

  /*Configure GPIO pins : LD2_Pin LED_Blue_Pin LED_Green_Pin LED_Red_Pin */
  GPIO_InitStruct.Pin = LD2_Pin|LED_Blue_Pin|LED_Green_Pin|LED_Red_Pin;
  GPIO_InitStruct.Mode = GPIO_MODE_OUTPUT_PP;
  GPIO_InitStruct.Pull = GPIO_NOPULL;
  GPIO_InitStruct.Speed = GPIO_SPEED_FREQ_LOW;
  HAL_GPIO_Init(GPIOA, &GPIO_InitStruct);

  /*Configure GPIO pin : RPM_TICK_Pin */
  GPIO_InitStruct.Pin = RPM_TICK_Pin;
  GPIO_InitStruct.Mode = GPIO_MODE_IT_RISING;
  GPIO_InitStruct.Pull = GPIO_NOPULL;
  HAL_GPIO_Init(RPM_TICK_GPIO_Port, &GPIO_InitStruct);

  /*Configure GPIO pins : DIGIT_A3_Pin DIGIT_A0_Pin DIGIT_A1_Pin DIGIT_A2_Pin */
  GPIO_InitStruct.Pin = DIGIT_A3_Pin|DIGIT_A0_Pin|DIGIT_A1_Pin|DIGIT_A2_Pin;
  GPIO_InitStruct.Mode = GPIO_MODE_OUTPUT_PP;
  GPIO_InitStruct.Pull = GPIO_NOPULL;
  GPIO_InitStruct.Speed = GPIO_SPEED_FREQ_LOW;
  HAL_GPIO_Init(GPIOB, &GPIO_InitStruct);

  /*Configure GPIO pins : DIGIT_B0_Pin DIGIT_B1_Pin DIGIT_B2_Pin DIGIT_B3_Pin */
  GPIO_InitStruct.Pin = DIGIT_B0_Pin|DIGIT_B1_Pin|DIGIT_B2_Pin|DIGIT_B3_Pin;
  GPIO_InitStruct.Mode = GPIO_MODE_OUTPUT_PP;
  GPIO_InitStruct.Pull = GPIO_NOPULL;
  GPIO_InitStruct.Speed = GPIO_SPEED_FREQ_LOW;
  HAL_GPIO_Init(GPIOC, &GPIO_InitStruct);

  /* EXTI interrupt init*/
  HAL_NVIC_SetPriority(EXTI2_IRQn, 0, 0);
  HAL_NVIC_EnableIRQ(EXTI2_IRQn);

}

/* USER CODE BEGIN 4 */
void HAL_UART_RxCpltCallback(UART_HandleTypeDef *huart) {
	if (huart -> Instance == USART6) {
		if (single_digit) {
			HAL_UART_Transmit(&huart6, double_byte, 1, HAL_MAX_DELAY);
		} else {
			HAL_UART_Transmit(&huart6, double_byte, 2, HAL_MAX_DELAY);
		}
		rcv_intpt_flag = 1;
	}

	if (huart->Instance == USART1) {
		us100_Rx_flag = 1;
	}
}

void HAL_GPIO_EXTI_Callback (uint16_t GPIO_Pin) {
	if (GPIO_Pin == RPM_TICK_Pin) {
		rpm_tick_count++;
	}
}

void HAL_TIM_PeriodElapsedCallback(TIM_HandleTypeDef *htim) {
	if (htim->Instance == TIM5) {
		clock_secs++;
		clock_hours = clock_secs/12;
	}
}
/* USER CODE END 4 */

void Error_Handler(void)
{
}
